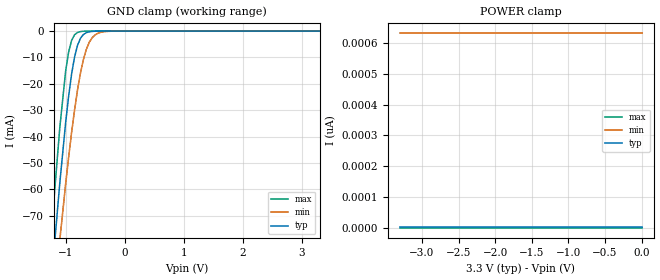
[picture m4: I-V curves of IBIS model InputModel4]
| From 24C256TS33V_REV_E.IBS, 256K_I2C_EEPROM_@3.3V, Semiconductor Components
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|**********************InputModel4**********************************
[Model]   InputModel4
Model_type   Input
|   Model for pin SCL
Vinl =  0.99V
Vinh =  2.31V
C_comp   6.00pF   6.00pF   6.00pF
[Temperature Range] 25.00   125.00   -40.00
[Voltage Range]   3.30V   3.00V   3.60V
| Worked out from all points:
|   GND clamp passes 1 mA (typ) near -0.68 V on its own axis
[GND_clamp]
| voltage   I(typ)   I(min)   I(max)
-3.3V     -750mA     -669mA     -813mA
-1.3V     -112mA     -127mA     -95.3mA
-1.2V     -84mA      -103mA     -64.5mA
-1.1V     -57.9mA    -79.5mA    -36.9mA
-1V       -34.7mA    -58mA      -15.2mA
-950mV    -24.8mA    -48mA      -8mA
-850mV    -9.95mA    -30.1mA    -1.44mA
-800mV    -5.48mA    -22.5mA    -537uA
-650mV    -607uA     -6.96mA    -24.6uA
-550mV    -123uA     -2.49mA    -3.1uA
-400mV    -10.8uA    -436uA     -138nA
3.3V      3pA        632pA      8.88fA
[POWER_clamp]
| Voltages for [POWER_clamp] are specified with
| negative respect to Vcc.  Reference the IBIS documentation
| for more information regarding Vtable = Vcc - Voutput.
| voltage   I(typ)   I(min)   I(max)
-3.3V     3pA        632pA      8.88fA
-3.2V     3pA        632pA      8.88fA
-3.1V     3pA        632pA      8.88fA
0V        3pA        632pA      8.88fA
